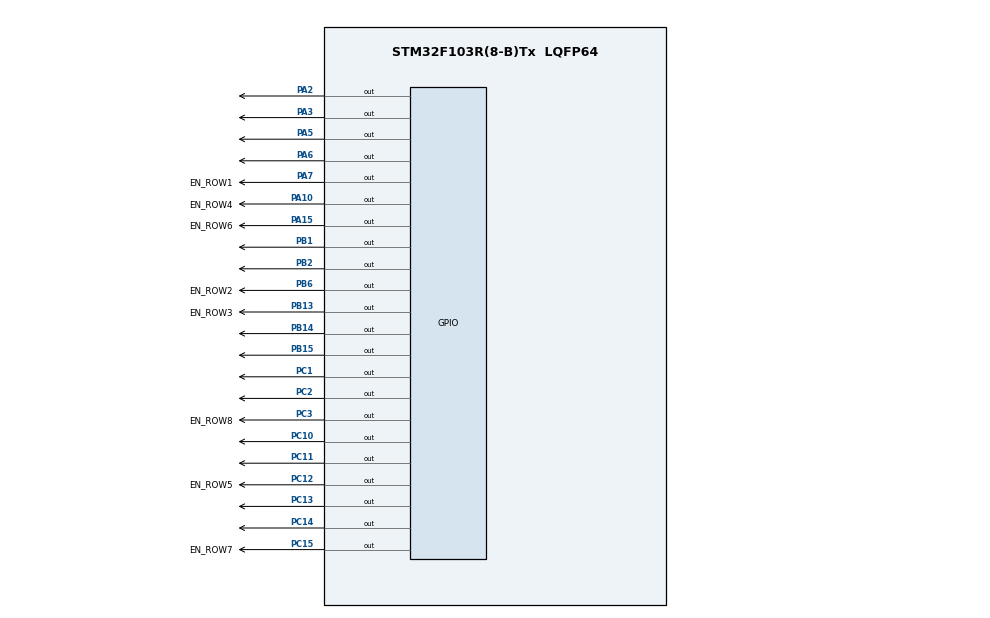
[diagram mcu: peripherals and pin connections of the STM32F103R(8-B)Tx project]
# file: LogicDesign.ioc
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Mcu.Family=STM32F1
Mcu.Name=STM32F103R(8-B)Tx
Mcu.Package=LQFP64
NVIC.PriorityGroup=NVIC_PRIORITYGROUP_4
NVIC.TIM2_IRQn=true\:0\:0\:false\:false\:true\:true\:true\:true
PA10.GPIO_Label=EN_ROW4
PA10.Signal=GPIO_Output
PA13.Mode=Serial_Wire
PA13.Signal=SYS_JTMS-SWDIO
PA14.Mode=Serial_Wire
PA14.Signal=SYS_JTCK-SWCLK
PA15.GPIO_Label=EN_ROW6
PA15.Signal=GPIO_Output
PA2.Signal=GPIO_Output
PA3.Signal=GPIO_Output
PA5.Signal=GPIO_Output
PA6.Signal=GPIO_Output
PA7.GPIO_Label=EN_ROW1
PA7.Signal=GPIO_Output
PB1.Signal=GPIO_Output
PB13.GPIO_Label=EN_ROW3
PB13.Signal=GPIO_Output
PB14.Signal=GPIO_Output
PB15.Signal=GPIO_Output
PB2.Signal=GPIO_Output
PB6.GPIO_Label=EN_ROW2
PB6.Signal=GPIO_Output
PC1.Signal=GPIO_Output
PC10.Signal=GPIO_Output
PC11.Signal=GPIO_Output
PC12.GPIO_Label=EN_ROW5
PC12.Signal=GPIO_Output
PC13-TAMPER-RTC.Signal=GPIO_Output
PC14-OSC32_IN.Signal=GPIO_Output
PC15-OSC32_OUT.GPIO_Label=EN_ROW7
PC15-OSC32_OUT.Signal=GPIO_Output
PC2.Signal=GPIO_Output
PC3.GPIO_Label=EN_ROW8
PC3.Signal=GPIO_Output
ProjectManager.HeapSize=0x200
ProjectManager.StackSize=0x400
ProjectManager.TargetToolchain=STM32CubeIDE
RCC.APB1Freq_Value=8000000
RCC.APB2Freq_Value=8000000
TIM2.Period=9
TIM2.Prescaler=799
VP_TIM2_VS_ClockSourceINT.Mode=Internal
board=custom

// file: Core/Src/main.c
/* USER CODE BEGIN Header */
/**
  ******************************************************************************
  * @file           : main.c
  * @brief          : Main program body
  ******************************************************************************
  * @attention
  *
  * <h2><center>&copy; Copyright (c) 2022 STMicroelectronics.
  * All rights reserved.</center></h2>
  *
  * This software component is licensed by ST under BSD 3-Clause license,
  * the "License"; You may not use this file except in compliance with the
  * License. You may obtain a copy of the License at:
  *                        opensource.org/licenses/BSD-3-Clause
  *
  ******************************************************************************
  */
/* USER CODE END Header */
#include "main.h"

/* USER CODE BEGIN PD */
#define NO_OF_TIMERS 2
/* USER CODE END PD */

TIM_HandleTypeDef htim2;

/* USER CODE BEGIN PV */
const int MAX_LED_MATRIX = 8;
int index_col_led_matrix = 0;

enum status{
	RED,
	GREEN,
	MIX
};

enum direction{
	VER,
	VER_REV,
	HOR,
	HOR_REV
};

//uint8_t matrix_buffer[8] = {0x01, 0x06, 0x38, 0xC8, 0xC8, 0x38, 0x06, 0x01};
//
uint8_t matrix_buffer[8] = {0xff, 0xff,0x18,0x18,0x18,0x18,0xff,0xff};
uint8_t charA[8] = {0x00,0x06,0x38,0x48,0x48,0x38,0x06,0x00};
uint8_t charAR[8] = {0x81,0x42,0x42,0x3c,0x24,0x24,0x18,0x18};
uint8_t charH[8] = {0xff, 0xff,0x18,0x18,0x18,0x18,0xff,0xff};

GPIO_TypeDef * Port[8]={GPIOA,GPIOB,GPIOB,GPIOA,GPIOA,GPIOC,GPIOC,GPIOC};
uint16_t row_red_pin[8] = {Red1_Pin,Red2_Pin,Red3_Pin,Red4_Pin,Red5_Pin,Red6_Pin,Red7_Pin,Red8_Pin};
uint16_t row_green_pin[8] = {Green1_Pin,Green2_Pin,Green3_Pin,Green4_Pin,Green5_Pin,Green6_Pin,Green7_Pin,Green8_Pin};
uint16_t col_pin[8] = {EN_ROW1_Pin,EN_ROW2_Pin,EN_ROW3_Pin,EN_ROW4_Pin,EN_ROW5_Pin,EN_ROW6_Pin,EN_ROW7_Pin,EN_ROW8_Pin};

int TIMER_CYCLE;

int timer_counter[NO_OF_TIMERS];
int timer_flag[NO_OF_TIMERS];
/* USER CODE END PV */

void SystemClock_Config(void);
static void MX_GPIO_Init(void);
static void MX_TIM2_Init(void);
/* USER CODE BEGIN PFP */
void clearLED(void);
void updateLEDMatrixBuffer(uint8_t *);
void updateLEDMatrix(int,enum status,enum direction);
void shiftLeftMatrix();
void shiftRightMatrix();
void shiftUpMatrix();
void shiftDownMatrix();

void setTimer(int, int);
void timer_run(void);
/* USER CODE END PFP */

int main(void)
{

  /* MCU Configuration--------------------------------------------------------*/

  /* Reset of all peripherals, Initializes the Flash interface and the Systick. */
  HAL_Init();

  /* Configure the system clock */
  SystemClock_Config();

  /* Initialize all configured peripherals */
  MX_GPIO_Init();
  MX_TIM2_Init();
  /* USER CODE BEGIN 2 */
  HAL_TIM_Base_Start_IT(&htim2);

  setTimer(0,TIMER_CYCLE);
  setTimer(1,TIMER_CYCLE);
  setTimer(2,TIMER_CYCLE);
  enum status curent_state = GREEN;
  enum direction flow= VER;
  updateLEDMatrixBuffer(charA);
  char is_First = 1;
  /* USER CODE END 2 */

  /* Infinite loop */
  while (1)
  {
//	  if(timer_flag[0]){
//		  timer_flag[0] = 0;
//		  setTimer(0,200);
//		  if(is_First) is_First = 0;
//		  else{
//			  shiftLeftMatrix();
////			  shiftUpMatrix();
////			  shiftDownMatrix();
////			  shiftRightMatrix();
//		  }
//	  }
//
//	  if(timer_flag[1]) {
//		  timer_flag[1] = 0;
//		  setTimer(1,2);
//		  updateLEDMatrix(index_col_led_matrix++,curent_state,flow);
//		  if(index_col_led_matrix == MAX_LED_MATRIX) index_col_led_matrix = 0;
//	  }
	  for(int i = 0 ; i < MAX_LED_MATRIX; i++){
		  HAL_GPIO_WritePin(GPIOA,GPIO_PIN_7,0);
		  HAL_GPIO_WritePin(Port[i],row_green_pin[i],1);
		  HAL_Delay(1000);
	  }
  }
}

void SystemClock_Config(void)
{
  RCC_OscInitTypeDef RCC_OscInitStruct = {0};
  RCC_ClkInitTypeDef RCC_ClkInitStruct = {0};

  /** Initializes the RCC Oscillators according to the specified parameters
  * in the RCC_OscInitTypeDef structure.
  */
  RCC_OscInitStruct.OscillatorType = RCC_OSCILLATORTYPE_HSI;
  RCC_OscInitStruct.HSIState = RCC_HSI_ON;
  RCC_OscInitStruct.HSICalibrationValue = RCC_HSICALIBRATION_DEFAULT;
  RCC_OscInitStruct.PLL.PLLState = RCC_PLL_NONE;
  if (HAL_RCC_OscConfig(&RCC_OscInitStruct) != HAL_OK)
  {
    Error_Handler();
  }

  /** Initializes the CPU, AHB and APB buses clocks
  */
  RCC_ClkInitStruct.ClockType = RCC_CLOCKTYPE_HCLK|RCC_CLOCKTYPE_SYSCLK
                              |RCC_CLOCKTYPE_PCLK1|RCC_CLOCKTYPE_PCLK2;
  RCC_ClkInitStruct.SYSCLKSource = RCC_SYSCLKSOURCE_HSI;
  RCC_ClkInitStruct.AHBCLKDivider = RCC_SYSCLK_DIV1;
  RCC_ClkInitStruct.APB1CLKDivider = RCC_HCLK_DIV1;
  RCC_ClkInitStruct.APB2CLKDivider = RCC_HCLK_DIV1;

  if (HAL_RCC_ClockConfig(&RCC_ClkInitStruct, FLASH_LATENCY_0) != HAL_OK)
  {
    Error_Handler();
  }
}

static void MX_TIM2_Init(void)
{

  TIM_ClockConfigTypeDef sClockSourceConfig = {0};
  TIM_MasterConfigTypeDef sMasterConfig = {0};

  htim2.Instance = TIM2;
  htim2.Init.Prescaler = 799;
  htim2.Init.CounterMode = TIM_COUNTERMODE_UP;
  htim2.Init.Period = 9;
  htim2.Init.ClockDivision = TIM_CLOCKDIVISION_DIV1;
  htim2.Init.AutoReloadPreload = TIM_AUTORELOAD_PRELOAD_DISABLE;
  if (HAL_TIM_Base_Init(&htim2) != HAL_OK)
  {
    Error_Handler();
  }
  sClockSourceConfig.ClockSource = TIM_CLOCKSOURCE_INTERNAL;
  if (HAL_TIM_ConfigClockSource(&htim2, &sClockSourceConfig) != HAL_OK)
  {
    Error_Handler();
  }
  sMasterConfig.MasterOutputTrigger = TIM_TRGO_RESET;
  sMasterConfig.MasterSlaveMode = TIM_MASTERSLAVEMODE_DISABLE;
  if (HAL_TIMEx_MasterConfigSynchronization(&htim2, &sMasterConfig) != HAL_OK)
  {
    Error_Handler();
  }

}

static void MX_GPIO_Init(void)
{
  GPIO_InitTypeDef GPIO_InitStruct = {0};

  /* GPIO Ports Clock Enable */
  __HAL_RCC_GPIOC_CLK_ENABLE();
  __HAL_RCC_GPIOA_CLK_ENABLE();
  __HAL_RCC_GPIOB_CLK_ENABLE();

  /*Configure GPIO pin Output Level */
  HAL_GPIO_WritePin(GPIOC, GPIO_PIN_13|GPIO_PIN_14|EN_ROW7_Pin|GPIO_PIN_1
                          |GPIO_PIN_2|EN_ROW8_Pin|GPIO_PIN_10|GPIO_PIN_11
                          |EN_ROW5_Pin, GPIO_PIN_RESET);

  /*Configure GPIO pin Output Level */
  HAL_GPIO_WritePin(GPIOA, GPIO_PIN_2|GPIO_PIN_3|GPIO_PIN_5|GPIO_PIN_6
                          |EN_ROW1_Pin|EN_ROW4_Pin|EN_ROW6_Pin, GPIO_PIN_RESET);

  /*Configure GPIO pin Output Level */
  HAL_GPIO_WritePin(GPIOB, GPIO_PIN_1|GPIO_PIN_2|EN_ROW3_Pin|GPIO_PIN_14
                          |GPIO_PIN_15|EN_ROW2_Pin, GPIO_PIN_RESET);

  /*Configure GPIO pins : PC13 PC14 EN_ROW7_Pin PC1
                           PC2 EN_ROW8_Pin PC10 PC11
                           EN_ROW5_Pin */
  GPIO_InitStruct.Pin = GPIO_PIN_13|GPIO_PIN_14|EN_ROW7_Pin|GPIO_PIN_1
                          |GPIO_PIN_2|EN_ROW8_Pin|GPIO_PIN_10|GPIO_PIN_11
                          |EN_ROW5_Pin;
  GPIO_InitStruct.Mode = GPIO_MODE_OUTPUT_PP;
  GPIO_InitStruct.Pull = GPIO_NOPULL;
  GPIO_InitStruct.Speed = GPIO_SPEED_FREQ_LOW;
  HAL_GPIO_Init(GPIOC, &GPIO_InitStruct);

  /*Configure GPIO pins : PA2 PA3 PA5 PA6
                           EN_ROW1_Pin EN_ROW4_Pin EN_ROW6_Pin */
  GPIO_InitStruct.Pin = GPIO_PIN_2|GPIO_PIN_3|GPIO_PIN_5|GPIO_PIN_6
                          |EN_ROW1_Pin|EN_ROW4_Pin|EN_ROW6_Pin;
  GPIO_InitStruct.Mode = GPIO_MODE_OUTPUT_PP;
  GPIO_InitStruct.Pull = GPIO_NOPULL;
  GPIO_InitStruct.Speed = GPIO_SPEED_FREQ_LOW;
  HAL_GPIO_Init(GPIOA, &GPIO_InitStruct);

  /*Configure GPIO pins : PB1 PB2 EN_ROW3_Pin PB14
                           PB15 EN_ROW2_Pin */
  GPIO_InitStruct.Pin = GPIO_PIN_1|GPIO_PIN_2|EN_ROW3_Pin|GPIO_PIN_14
                          |GPIO_PIN_15|EN_ROW2_Pin;
  GPIO_InitStruct.Mode = GPIO_MODE_OUTPUT_PP;
  GPIO_InitStruct.Pull = GPIO_NOPULL;
  GPIO_InitStruct.Speed = GPIO_SPEED_FREQ_LOW;
  HAL_GPIO_Init(GPIOB, &GPIO_InitStruct);

}

/* USER CODE BEGIN 4 */

void clearLED(){
	for(int i = 0 ; i < MAX_LED_MATRIX; i++){
		HAL_GPIO_WritePin(Port[i],row_red_pin[i] | row_green_pin[i] | col_pin[i] , 0);
	}
}

void updateLEDMatrixBuffer(uint8_t * character){
	for(int i = 0 ; i < MAX_LED_MATRIX; i++){
		matrix_buffer[i] = character[i];
	}
}

void updateLEDMatrix(int index, enum status state_current,enum direction flow) {
	clearLED();
	int flag_led = 0;
	switch(state_current){
	case RED:
		switch(flow){
		case VER:
		case HOR:
			for(int i = 0; i < MAX_LED_MATRIX; i++) {
				if(matrix_buffer[index] & (0x01 << i)) {
					HAL_GPIO_WritePin(Port[i],row_red_pin[i],1);
				}
			}
			break;
		case VER_REV:
			for(int i = 0; i < MAX_LED_MATRIX; i++) {
				if(matrix_buffer[index] & (0x01 << i)) {
					HAL_GPIO_WritePin(Port[i],row_red_pin[i],1);
				}
			}
			break;
		case HOR_REV:
			for(int i = 0; i < MAX_LED_MATRIX; i++) {
				if(matrix_buffer[7-index] & (0x01 << i)) {
					HAL_GPIO_WritePin(Port[i],row_red_pin[i],1);
				}
			}
			break;
		}
		break;
	case GREEN:
		switch(flow){
		case VER:
		case HOR:
			for(int i = 0; i < MAX_LED_MATRIX; i++) {
				if(matrix_buffer[index] & (0x01 >> i)) {
					HAL_GPIO_WritePin(Port[i],row_green_pin[i],1);
				}
			}
			break;
		case VER_REV:
			for(int i = 0; i < MAX_LED_MATRIX; i++) {
				if(matrix_buffer[index] & (0x01 << i)) {
					HAL_GPIO_WritePin(Port[i],row_green_pin[i],1);
				}
			}
			break;
		case HOR_REV:
			for(int i = 0; i < MAX_LED_MATRIX; i++) {
				if(matrix_buffer[7-index] & (0x01 << i)) {
					HAL_GPIO_WritePin(Port[i],row_green_pin[i],1);
				}
			}
			break;
		}
		break;
	case MIX:
		switch(flow){
		case VER:
		case HOR:
			for(int i = 0; i < MAX_LED_MATRIX; i++) {
				if(matrix_buffer[index] & (0x01 << i)) {
					if(flag_led){
						HAL_GPIO_WritePin(Port[i],row_green_pin[i],1);
						flag_led = 0;
					}
					else{
						HAL_GPIO_WritePin(Port[i],row_red_pin[i],1);
						flag_led = 1;
					}
				}
			}
			break;
		case VER_REV:
			for(int i = 0; i < MAX_LED_MATRIX; i++) {
				if(matrix_buffer[index] & (0x01 << i)) {
					if(flag_led){
						HAL_GPIO_WritePin(Port[i],row_green_pin[i],1);
						flag_led = 0;
					}
					else{
						HAL_GPIO_WritePin(Port[i],row_red_pin[i],1);
						flag_led = 1;
					}
				}
			}
			break;
		case HOR_REV:
			for(int i = 0; i < MAX_LED_MATRIX; i++) {
				if(matrix_buffer[7-index] & (0x01 << i)) {
					if(flag_led){
						HAL_GPIO_WritePin(Port[i],row_green_pin[i],1);
						flag_led = 0;
					}
					else{
						HAL_GPIO_WritePin(Port[i],row_red_pin[i],1);
						flag_led = 1;
					}
				}
			}
			break;
		}
		break;
	default: break;
	}
	HAL_GPIO_WritePin(Port[index],col_pin[index],0);
}

void shiftRightMatrix() {
	uint8_t old = matrix_buffer[0];
	for(int i = 0 ; i < MAX_LED_MATRIX; i++)  matrix_buffer[i] = matrix_buffer[i+1];
	matrix_buffer[7] = old;
}

void shiftLeftMatrix(){
	uint8_t old = matrix_buffer[MAX_LED_MATRIX - 1];
	for(int i = MAX_LED_MATRIX - 1; i > 0; i--) matrix_buffer[i] = matrix_buffer[i-1];
	matrix_buffer[0] = old;
}

void shiftUpMatrix(){
	for(int i = 0; i < MAX_LED_MATRIX; i++){
		int b = matrix_buffer[i] & 0x01;
		matrix_buffer[i] >>= 1;
		if(b == 1) matrix_buffer[i] = matrix_buffer[i] | (1 << 7);
		else matrix_buffer[i] = matrix_buffer[i] & ~(1 << 7);
	}
}

void shiftDownMatrix(){
	for(int i = 0; i < MAX_LED_MATRIX; i++){
		int b = matrix_buffer[i] & 0x80;
		matrix_buffer[i] <<= 1;
		if(b == 128) matrix_buffer[i] = matrix_buffer[i] | (1 << 0);
		else matrix_buffer[i] = matrix_buffer[i] & ~(1 << 0);
	}
}

void setTimer(int timer, int duration) {
	timer_counter[timer] = duration / TIMER_CYCLE;
	timer_flag[timer] = 0;
}

void timer_run() {
	for(int i = 0; i < NO_OF_TIMERS; i++) {
		if(timer_counter[i] > 0) {
			timer_counter[i]--;
			if(timer_counter[i] == 0) {
				timer_flag[i] = 1;
			}
		}
	}
}

void HAL_TIM_PeriodElapsedCallback(TIM_HandleTypeDef*htim) {
	timer_run();
}
/* USER CODE END 4 */

void Error_Handler(void)
{
  __disable_irq();
  while (1)
  {
  }
}
